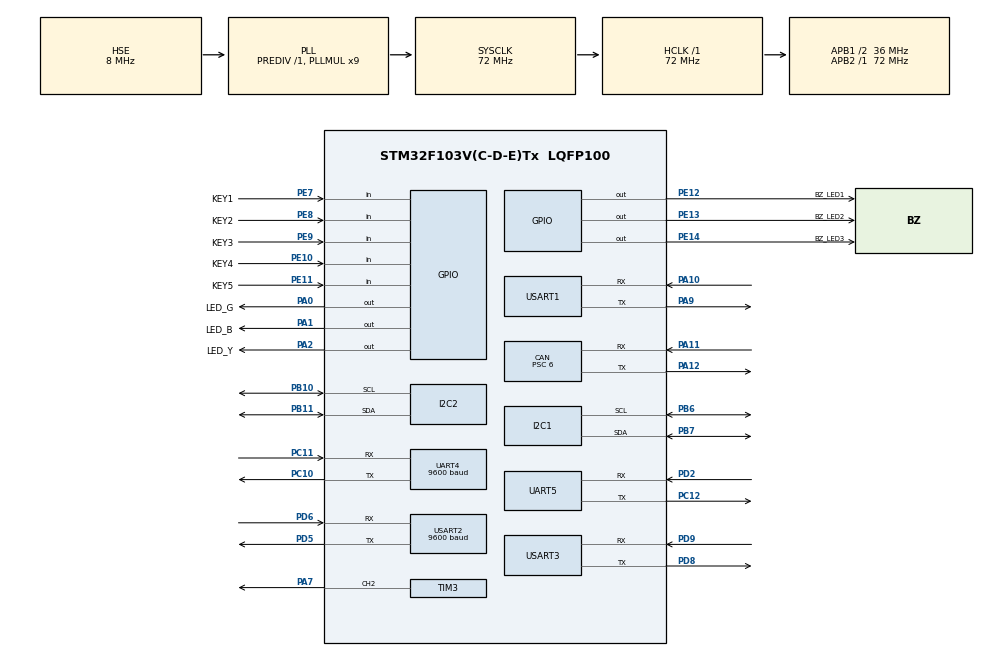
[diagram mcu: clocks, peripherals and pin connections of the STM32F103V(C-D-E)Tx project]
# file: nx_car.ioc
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CAN.ABOM=ENABLE
CAN.BS1=CAN_BS1_9TQ
CAN.BS2=CAN_BS2_2TQ
CAN.CalculateBaudRate=499999
CAN.CalculateTimeBit=2000
CAN.CalculateTimeQuantum=166.66666666666669
CAN.Prescaler=6
CAN.TXFP=DISABLE
Mcu.Family=STM32F1
Mcu.Name=STM32F103V(C-D-E)Tx
Mcu.Package=LQFP100
NVIC.PriorityGroup=NVIC_PRIORITYGROUP_4
NVIC.UART4_IRQn=true\:0\:0\:false\:false\:true\:true\:true\:true
NVIC.UART5_IRQn=true\:0\:0\:false\:false\:true\:true\:true\:true
NVIC.USART1_IRQn=true\:0\:0\:false\:false\:true\:true\:true\:true
NVIC.USART2_IRQn=true\:0\:0\:false\:false\:true\:true\:true\:true
NVIC.USART3_IRQn=true\:0\:0\:false\:false\:true\:true\:true\:true
NVIC.USB_LP_CAN1_RX0_IRQn=true\:1\:0\:false\:false\:true\:true\:true\:true
OSC_IN.Mode=HSE-External-Oscillator
OSC_IN.Signal=RCC_OSC_IN
OSC_OUT.Mode=HSE-External-Oscillator
OSC_OUT.Signal=RCC_OSC_OUT
PA0-WKUP.GPIO_Label=LED_G
PA0-WKUP.Signal=GPIO_Output
PA1.GPIO_Label=LED_B
PA1.Signal=GPIO_Output
PA10.Mode=Asynchronous
PA10.Signal=USART1_RX
PA11.Mode=CAN_Activate
PA11.Signal=CAN_RX
PA12.Mode=CAN_Activate
PA12.Signal=CAN_TX
PA13.Mode=Serial_Wire
PA13.Signal=SYS_JTMS-SWDIO
PA14.Mode=Serial_Wire
PA14.Signal=SYS_JTCK-SWCLK
PA2.GPIO_Label=LED_Y
PA2.Signal=GPIO_Output
PA7.Signal=S_TIM3_CH2
PA9.Mode=Asynchronous
PA9.Signal=USART1_TX
PB10.Mode=I2C
PB10.Signal=I2C2_SCL
PB11.Mode=I2C
PB11.Signal=I2C2_SDA
PB6.Mode=I2C
PB6.Signal=I2C1_SCL
PB7.Mode=I2C
PB7.Signal=I2C1_SDA
PC10.Mode=Asynchronous
PC10.Signal=UART4_TX
PC11.Mode=Asynchronous
PC11.Signal=UART4_RX
PC12.Mode=Asynchronous
PC12.Signal=UART5_TX
PC14-OSC32_IN.Mode=LSE-External-Oscillator
PC14-OSC32_IN.Signal=RCC_OSC32_IN
PC15-OSC32_OUT.Mode=LSE-External-Oscillator
PC15-OSC32_OUT.Signal=RCC_OSC32_OUT
PD2.Mode=Asynchronous
PD2.Signal=UART5_RX
PD5.Mode=Asynchronous
PD5.Signal=USART2_TX
PD6.Mode=Asynchronous
PD6.Signal=USART2_RX
PD8.Mode=Asynchronous
PD8.Signal=USART3_TX
PD9.Mode=Asynchronous
PD9.Signal=USART3_RX
PE10.GPIO_Label=KEY4
PE10.GPIO_PuPd=GPIO_PULLUP
PE10.Signal=GPIO_Input
PE11.GPIO_Label=KEY5
PE11.GPIO_PuPd=GPIO_PULLUP
PE11.Signal=GPIO_Input
PE12.GPIO_Label=BZ_LED1
PE12.PinState=GPIO_PIN_SET
PE12.Signal=GPIO_Output
PE13.GPIO_Label=BZ_LED2
PE13.PinState=GPIO_PIN_SET
PE13.Signal=GPIO_Output
PE14.GPIO_Label=BZ_LED3
PE14.PinState=GPIO_PIN_SET
PE14.Signal=GPIO_Output
PE7.GPIO_Label=KEY1
PE7.GPIO_PuPd=GPIO_PULLUP
PE7.Signal=GPIO_Input
PE8.GPIO_Label=KEY2
PE8.GPIO_PuPd=GPIO_PULLUP
PE8.Signal=GPIO_Input
PE9.GPIO_Label=KEY3
PE9.GPIO_PuPd=GPIO_PULLUP
PE9.Signal=GPIO_Input
ProjectManager.HeapSize=0x200
ProjectManager.StackSize=0x400
ProjectManager.TargetToolchain=MDK-ARM V5.32
RCC.AHBFreq_Value=72000000
RCC.APB1CLKDivider=RCC_HCLK_DIV2
RCC.APB1Freq_Value=36000000
RCC.APB1TimFreq_Value=72000000
RCC.APB2Freq_Value=72000000
RCC.APB2TimFreq_Value=72000000
RCC.HCLKFreq_Value=72000000
RCC.PLLMUL=RCC_PLL_MUL9
RCC.PLLSourceVirtual=RCC_PLLSOURCE_HSE
RCC.SYSCLKFreq_VALUE=72000000
RCC.SYSCLKSource=RCC_SYSCLKSOURCE_PLLCLK
RCC.USBFreq_Value=72000000
SH.S_TIM3_CH2.0=TIM3_CH2,PWM Generation2 CH2
TIM3.AutoReloadPreload=TIM_AUTORELOAD_PRELOAD_ENABLE
TIM3.Channel-PWM\ Generation2\ CH2=TIM_CHANNEL_2
TIM3.Period=365
TIM3.Prescaler=71
TIM3.Pulse-PWM\ Generation2\ CH2=183
UART4.BaudRate=9600
UART4.VirtualMode=Asynchronous
UART5.VirtualMode=Asynchronous
USART1.VirtualMode=VM_ASYNC
USART2.BaudRate=9600
USART2.VirtualMode=VM_ASYNC
USART3.VirtualMode=VM_ASYNC
VP_TIM3_VS_ClockSourceINT.Mode=Internal
board=custom

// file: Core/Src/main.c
/* USER CODE BEGIN Header */
/**
  ******************************************************************************
  * @file           : main.c
  * @brief          : Main program body
  ******************************************************************************
  * @attention
  *
  * Copyright (c) 2026 STMicroelectronics.
  * All rights reserved.
  *
  * This software is licensed under terms that can be found in the LICENSE file
  * in the root directory of this software component.
  * If no LICENSE file comes with this software, it is provided AS-IS.
  *
  ******************************************************************************
  */
/* USER CODE END Header */
#include "main.h"
#include "can.h"
#include "i2c.h"
#include "tim.h"
#include "usart.h"
#include "gpio.h"

/* USER CODE BEGIN Includes */
#include "bsp_Emm_V5.h"
#include "hwt101ct.h"
#include "oled.h"
#include "Emm_V5.h"
#include "bsp_debug.h"
#include "bsp_oled_ui.h"
#include "bsp_key.h"
#include "bsp_imu.h"
#include "bsp_test.h"
#include "bsp_motor.h"
#include "bsp_wheel_test.h"
#include "bsp_mecanum.h"        /* P4 麦轮运动学：整车位移 -> 四轮目标脉冲 */
#include "bsp_chassis.h"        /* P4 车机运动序列：位置模式 + 到位判定 + 航向纠偏 */
#include "bsp_chassis_test.h"   /* P4 车机测试页控制（PAGE_CHASSIS） */
#include "bsp_qr.h"             /* P5 GM65 扫码模块：UART4 中断接收 + 帧超时定界 */
#include "bsp_qr_test.h"        /* P5 扫码测试页控制（PAGE_QR） */
#include "bsp_rpi.h"             /* P6 树莓派通讯模块：USART1 收发 + 4 收 5 发（协议 v1.0） */
#include "bsp_rpi_test.h"        /* P6 树莓派通讯测试页控制（PAGE_RPI） */
#include "bsp_route.h"           /* P7 跑图执行器：按路段表顺序自动行驶（位置模式） */
#include "bsp_arm_action.h"      /* P9 抓取动作库：标定表 + 固定流程 + 非阻塞执行器 */
#include "bsp_align.h"           /* P9 视觉闭环定位：按像素偏移迭代平移到位 */
#include "bsp_tt.h"              /* P10 转盘取料序列：对位 + 连抓 3 件放车载 1/2/3 */
#include "bsp_route_test.h"      /* P7 跑图测试页控制（PAGE_ROUTE） */
#include "bsp_tune.h"            /* P7 自动调车：UART5 在线调参命令（RUN/STOP/参数=值） */
#include "bsp_arm.h"             /* P8 机械臂电机：手臂转向/升降（CAN addr 5/6）+ 舵机参数 */
#include "LobotServoController.h" /* P8 幻尔总线舵机官方库（经调试板 TTL 口，USART3） */
#include "bsp_servo.h"           /* P8 舵机回读模块：实际位置 / 调试板电压 */
#include "bsp_arm_test.h"        /* P8 机械臂测试页控制（PAGE_ARM） */
#include "bsp_arm_seq.h"         /* P8 联调 手臂调试页：回原点 + 动作序列（PAGE_ARM_SEQ） */
#include "bsp_arm_para.h"        /* P8 联调 手臂参数页：读电机/舵机参数（PAGE_ARM_PARA） */
#include "bsp_mission.h"         /* P9 赛题页：旧点位流程（导航内核 Mission_Nav* 仍被 bsp_task 复用） */
#include "bsp_task.h"            /* P9 赛题流程引擎：Task_Update/HandleKey（PAGE_MISSION） */
#include "bsp_task_dbg.h"        /* P9 任务调试页：任务点单点调试（PAGE_TASK_DBG） */
#include "bsp_align_test.h"      /* P24 对位调参页：单独跑对位 + 逐帧 PID 数据（PAGE_ALIGN_TEST） */
#include "bsp_vel_test.h"        /* P25 速度模式测试页：纯陀螺仪 + 时间控距离（PAGE_VELTEST） */
#include "bsp_vel_route.h"       /* P26 速度模式跑图页：赛题路段表全程 0xF6（PAGE_VELROUTE） */
#include <stdio.h>
#include <string.h>
/* USER CODE END Includes */

void SystemClock_Config(void);

int main(void)
{

  /* MCU Configuration--------------------------------------------------------*/

  /* Reset of all peripherals, Initializes the Flash interface and the Systick. */
  HAL_Init();

  /* Configure the system clock */
  SystemClock_Config();

  /* Initialize all configured peripherals */
  MX_GPIO_Init();
  MX_CAN_Init();
  MX_USART1_UART_Init();
  MX_USART2_UART_Init();
  MX_USART3_UART_Init();
  MX_I2C1_Init();
  MX_I2C2_Init();
  MX_UART4_Init();
  MX_UART5_Init();
  MX_TIM3_Init();
  /* USER CODE BEGIN 2 */
  /* CAN 滤波器初始化、启动 CAN、使能 RX0 接收中断（与参考工程 nx_car_cs 一致；
     can.c 的 MX_CAN_Init 不含滤波器/启动代码，必须在此调用） */
  USER_CAN1_Filter_Init();
  if(HAL_CAN_Start(&hcan) != HAL_OK) { Error_Handler(); }
  if(HAL_CAN_ActivateNotification(&hcan, CAN_IT_RX_FIFO0_MSG_PENDING) != HAL_OK) { Error_Handler(); }

  /* 调试系统初始化：熄灭 LED、上电蜂鸣、记录起始节拍 */
  BSP_Debug_Init();

  /* 上电横幅：项目名、编译时间、系统时钟频率 */
  printf("\r\n========================================\r\n");
  printf("  nx_car 智能搬运机器人\r\n");
  printf("  Build: %s %s\r\n", __DATE__, __TIME__);
  printf("  SYSCLK: %lu MHz\r\n", (unsigned long)(HAL_RCC_GetSysClockFreq() / 1000000UL));
  printf("========================================\r\n");
  Debug_Log("SYS", "boot done, enter main loop");

  /* OLED 显示系统初始化（检测在线+开机页） */
  Display_Init();
  /* 按键初始化（GPIO 已由 CubeMX 配置为上拉输入） */
  Key_Init();

  /* IMU 初始化：USART2 中断接收，波特率由 HWT101CT_UART_BAUD 宏决定 */
  IMU_Init();
  /* 模块自检框架初始化（注册表复位；电机使能/转动由单轮测试页 WheelTest_Enter 触发，上电不直发电机命令） */
  Test_Init();
  /* 电机总线自检启动（P3）：只读不写——依次读 1~4 号电机实时位置 S_CPOS，
     初始化阶段禁止发使能/速度指令，防上电车轮突转；应答由主循环 Motor_Update 轮询推进 */
  Motor_Init();
  /* 麦轮运动学初始化（P4）：只打印几何参数便于核对标定值，不发任何电机命令；
     上电阶段禁止使能/转动，四轮使能由车机测试页启动动作时触发 */
  Mecanum_Init();
  /* 车机运动模块初始化（P4）：只复位状态机，不发电机命令 */
  Chassis_Init();
  /* GM65 扫码模块初始化（P5）：启动 UART4 单字节中断接收，扫码此后台常驻运行，
     页面进入/退出不影响接收；合法任务码自动同步到任务码页（PAGE_TASK） */
  QR_Init();
  /* 树莓派通讯模块初始化（P6）：启动 USART1 单字节中断接收，通讯此后台常驻运行，
     页面进入/退出不影响接收；**初始化阶段不发任何指令**
     （$RCP/$RZ/$CCG/$SHOT/$CODE 由 P9 任务层或测试页手工触发） */
  RPi_Init();
  /* 转盘取料序列初始化（P10）：只复位状态机，不动电机；
     一键序列由 PICK_TRAY_ALL() 或任务调试页 TRAY PICK 启动（TT_Start） */
  TT_Init();
  /* 打靶放置序列初始化（P10 的 SP_，与 TRAY PICK 同源、同在 bsp_tt）：只复位状态机，不动电机；
     由任务调试页 STORE/ROUGH PLACE 或赛题流程 T_B1_PLACE（PLACE_STORE_ALL）启动（SP_Start） */
  SP_Init();
  /* 打靶取回序列初始化（P10 的 SB_，STORE BACK）：只复位状态机，不动电机；
     由任务调试页 STORE BACK 或赛题流程 T_B1_PBACK（PLACE_BACK_ALL）启动（SB_Start） */
  SB_Init();
  /* 跑图执行器初始化（P7）：只复位状态机，不发电机命令；
     四轮使能/下发位置命令由跑图测试页按 KEY3 启动时触发 */
  Route_Init();
  /* 在线调参模块（P7 自动调车）：从**日志串口 UART5 的 RX**轮询收 ASCII 命令
     （RUN/STOP/DUMP/DEFAULT/参数=值），改 bsp_route 的运行期参数；只收不发，
     不占中断、不改 stm32f1xx_it.c。PC 端脚本 auto_tune.py 靠它自动调车。 */
  Tune_Init();
  /* 舵机调试板串口适配（P8）：官方库 LobotServoController 假定串口已配好，
     而幻尔调试板的 TTL 口固定 9600，usart.c（CubeMX 生成、禁止改动）却把
     USART3 配成了 115200，故在此**运行期重设波特率**（8-N-1 等其它参数沿用
     usart.c 的配置）。只改串口参数，不发任何舵机动作指令（防上电爪子突动）。 */
  huart3.Init.BaudRate = (uint32_t)SERVO_BUS_BAUD;
  if (HAL_UART_Init(&huart3) != HAL_OK)
  {
    Debug_Log("SRV", "baud=%u set FAIL", (unsigned int)SERVO_BUS_BAUD);
  }
  Debug_Log("SRV", "init, baud=%u", (unsigned int)SERVO_BUS_BAUD);
  /* 舵机回读模块初始化（P8）：启动 USART3 单字节中断接收，只收不发
     （必须在上面把 USART3 改成 9600 之后调用；初始化阶段不发任何动作指令） */
  Servo_Init();
  /* 机械臂电机初始化（P8）：只复位状态并启动周期查询，不发使能/动作指令；
     电机 5/6 使能由机械臂测试页进入时触发 */
  Arm_Init();
  /* 赛题流程模块初始化（P9）：只复位状态机，不发电机命令、不清零里程计、
     不使能四轮；里程计清零与四轮使能分别在进赛题页、按 KEY5 执行/启动时触发 */
  Task_Init();
  /* 任务点调试页初始化（P9）：只复位状态机，不发电机/机械臂命令；
     按键进入/执行由主菜单 TDBG 项与调试页自身按键触发 */
  TaskDbg_Init();

#if DEBUG_BEEP_TEST
  /* 临时验证：持续断续鸣叫(200ms on / 200ms off)，BZ_LED2 同步；调用 BSP_Beep_Stop() 立即静音 */
  BSP_Beep(0, 200, 200);
#endif
  /* USER CODE END 2 */

  /* Infinite loop */
  while (1)
  {

    /* USER CODE BEGIN 3 */
    /* LED 流水（非阻塞，每 LED_FLOW_PERIOD_MS 切换） */
    BSP_LED_Flow_Update();
    /* 心跳日志（非阻塞，每 HEARTBEAT_PERIOD_MS 输出） */
    BSP_Heartbeat_Update();
    /* OLED display task (non-blocking refresh + cycle) */
    Display_Task();
    /* 按键扫描：KEY1=下一页，KEY2=上一页，手动切页关闭轮播 */
    {
        KeyID_t lp = Key_GetLongPress();
        /* 单轮点动页/车机测试页/扫码测试页/树莓派页/跑图页/机械臂页/手臂调试页/手臂参数页/赛题页
           活动时屏蔽长按 KEY2 进菜单：子页与顶层页只能由 KEY4/KEY5 退出，
           否则页面切走后状态错乱（电机仍转/动作状态机卡在半途/显示残留） */
        if (lp == KEY2 && !Display_MenuIsActive() &&
            !WheelTest_IsActive() &&
            !ChassisTest_IsActive() &&
            !QRTest_IsActive() && !RPiTest_IsActive() &&
            !RouteTest_IsActive() && !ArmTest_IsActive() &&
            !ArmSeq_IsActive() && !ArmPara_IsActive() &&
            !Task_IsActive() && !TaskDbg_IsActive() &&
            !VelTest_IsActive() && !VelRoute_IsActive())
        {
            Display_MenuEnter();
        }
        else if ((lp != KEY_NONE) && ArmTest_IsActive())
        {
            /* 机械臂测试页的长按由本页处理（KEY5=让本执行器归到0点、KEY3=电机5手动回零）：
               长按事件被 Key_GetLongPress() 消费一次，且 bsp_key 的长按不产生短按事件，
               所以必须在这里派发，不能靠下面短按路由的形参带进去 */
            ArmTest_HandleLongKey(lp);
        }
        else if ((lp != KEY_NONE) && ArmPara_IsActive())
        {
            /* 手臂参数页的长按由本页处理（KEY3=把电机5 当前位置设为绝对0点，存电机 flash） */
            ArmPara_HandleLongKey(lp);
        }
        else if ((lp != KEY_NONE) && Task_IsActive())
        {
            /* 赛题页的长按由本页处理（长按 KEY5=里程计清零；短按 KEY5 已被
               "执行当前步 / 一键启动"占用） */
            Task_HandleLongKey(lp);
        }
        else if ((lp != KEY_NONE) && VelTest_IsActive())
        {
            /* 速度模式测试页：长按 KEY4/KEY5 = 停止并退出
               （短按 KEY4 是"参数减一档"，所以退出放长按） */
            VelTest_HandleLongKey(lp);
        }
        else if ((lp != KEY_NONE) && VelRoute_IsActive())
        {
            /* 速度模式跑图页：长按 KEY4/KEY5 = 停止并退出 */
            VelRoute_HandleLongKey(lp);
        }
        else if (lp != KEY_NONE)
        {
            Debug_Log("KEY", "id=%u event=long", (unsigned int)lp);
        }

        KeyID_t key = Key_Scan();
        if (key != KEY_NONE)
        {
            if (Test_IsActive())
            {
                /* 测试页活动内再分一层：单轮点动页活动时按键交对应子页处理
                   （子页按键语义独立）；否则维持测试页路由 */
                if (WheelTest_IsActive())
                {
                    WheelTest_HandleKey(key);
                }
                else if (ChassisTest_IsActive())
                {
                    /* 车机测试页：KEY1/KEY2 选动作、KEY3 启动/中止、KEY4/KEY5 退出 */
                    ChassisTest_HandleKey(key);
                }
                else if (QRTest_IsActive())
                {
                    /* 扫码测试页：KEY3 手动重扫、KEY4/KEY5 退出回测试页 */
                    QRTest_HandleKey(key);
                }
                else if (RPiTest_IsActive())
                {
                    /* 树莓派测试页：KEY1/KEY2 选指令项、KEY3 发送、KEY4/KEY5 退出回测试页 */
                    RPiTest_HandleKey(key);
                }
                else if (RouteTest_IsActive())
                {
                    /* 跑图测试页：KEY3 启动/中止跑图、KEY4/KEY5 退出回测试页 */
                    RouteTest_HandleKey(key);
                }
                else if (ArmTest_IsActive())
                {
                    /* 机械臂测试页：KEY1/KEY2 选执行器、KEY3/KEY4 主/副动作、
                       KEY5 停止全部并退出回测试页（本页 KEY4 不是退出键） */
                    ArmTest_HandleKey(key);
                }
                else
                {
                    Test_HandleKey(key, 0);
                }
            }
            else if (Display_MenuIsActive())
            {
                Display_MenuHandleKey(key);
            }
            else if (ArmSeq_IsActive())
            {
                /* 手臂调试页（主菜单进入的顶层页）：
                   KEY1/KEY2 选动作、KEY3 重新回原点、KEY4 退出、KEY5 启动/中止 */
                ArmSeq_HandleKey(key);
            }
            else if (AlnTest_IsActive())
            {
                /* 对位调参页（主菜单进入的顶层页）：
                   KEY1/KEY2 选数据源、KEY3 启动/停止、KEY4 退出、KEY5 停止 */
                AlnTest_HandleKey(key);
            }
            else if (VelTest_IsActive())
            {
                /* 速度模式测试页（主菜单进入的顶层页）：
                   KEY1/KEY2 选参数、KEY3 加一档、KEY4 减一档、KEY5 启动/停止；
                   长按 KEY4/KEY5 = 停止并退出（见上方长按路由） */
                VelTest_HandleKey(key);
            }
            else if (VelRoute_IsActive())
            {
                /* 速度模式跑图页（主菜单进入的顶层页）：
                   KEY1/KEY2 上/下一段、KEY3 切 AUTO/STEP、KEY4 退出、KEY5 启动/停止 */
                VelRoute_HandleKey(key);
            }
            else if (ArmPara_IsActive())
            {
                /* 手臂参数页（主菜单进入的顶层页）：KEY3 刷新读数、KEY4 退出 */
                ArmPara_HandleKey(key);
            }
            else if (Task_IsActive())
            {
                /* 赛题页（主菜单进入的顶层页）：KEY1/KEY2 上/下一步、KEY3 切 STEP/AUTO、
                   KEY4 退出、KEY5 执行当前步（AUTO 下=一键启动）/ 运行中=急停；
                   长按 KEY5 = 里程计清零（见上方长按路由） */
                Task_HandleKey(key);
            }
            else if (TaskDbg_IsActive())
            {
                /* 任务调试页（主菜单进入的顶层页）：KEY1/KEY2 上/下任务点、KEY3 执行/中止、
                   KEY4 退出、KEY5 中止+退出 */
                TaskDbg_HandleKey(key);
            }
            else
            {
                if (key == KEY4) { Display_MenuEnter(); }
                else if (key == KEY3) { IMU_ResetYaw(); Debug_Log("IMU", "yaw reset ok"); }
                Debug_Log("KEY", "id=%u event=short", (unsigned int)key);
            }
        }
    }
    /* 电机总线自检轮询（非阻塞）：推进收发状态机，收应答记 ok / 超时记 no reply */
    Motor_Update();
    /* 车机运动状态机推进（P4，非阻塞）：读四轮位置算与目标脉冲的误差判到位，
       按阶段推进（主运动段 -> 纠偏段/ARC 第二段 -> DONE）并刷新进度；
       漏调度会导致状态机一直停在 RUN 直到超时 */
    Chassis_Update();
    /* 相对坐标（里程计）每拍累加（P4，非阻塞）：四轮脉冲增量 -> 麦轮正解 ->
       按当前陀螺仪朝向旋转回原点坐标系后累加 x/y；与运动状态无关，
       手动推车也会计入。漏调度则车机测试页的坐标不更新 */
    Chassis_OdomUpdate();
    /* 跑图状态机推进（P7，非阻塞）：按路段表逐段执行（先转角度 -> 再到坐标点），
       到位判定复用电机到位回传 + 脉冲容差兜底；
       放在 OdomUpdate 之后，保证本拍用的是最新相对坐标算增量 */
    Route_Update();

    /* 赛题流程状态机推进（P9，非阻塞）：按 bsp_task.c 的步骤表逐段推进
       （先按当前朝向 GO 到点 -> 再 Rotate 转到目标朝向 -> 到点执行作业点）；
       导航内核复用 bsp_mission 已验证的转角闭环/同拍停稳/到位判定。
       放在 OdomUpdate 之后，保证本拍用的是最新相对坐标算增量 */
    Task_Update();

    /* 任务点调试页状态机推进（P9，非阻塞）：按三段式推进当前任务点的调试程序
       （发指令 -> 等数据/对位 -> 动作收尾；机械臂动作留桩）；漏调度会卡在某一阶段 */
    TaskDbg_Update();

    /* 在线调参轮询（P7 自动调车）：读空 UART5 RX 并执行命令；无数据时开销极小。
       放在 Route_Update 之后，保证"改参数→下一段生效"的时序直观。 */
    Tune_Update();
    /* 机械臂电机状态查询节拍（P8，非阻塞）：周期发 S_CPOS/S_FLAG/S_OFLAG
       刷新 M5/M6 的位置与"到位/回零完成"标志，并判定回零完成与超时；
       漏调度会导致到位/回零完成永远判不出来（回调只负责存，不负责查） */
    Arm_Update();
    /* ★【2026-10-23 舵机丢动作修复】**所有会发舵机运动指令的节拍放在
       `Servo_Update()` 之前** —— 同一拍内先下运动指令、最后才发位置回读请求，
       避免"刚发出的读请求占着总线、后面的运动指令被调试板丢掉"。
       （另有 `Servo_WaitBusIdle()` 在 Arm_ServoMove 内做物理静默判定兜底。） */
    /* 机械臂测试页刷新节拍（P8，非阻塞）：只置脏标志，实际重绘由 OLED 侧节流 */
    ArmTest_Update();
    /* 手臂调试页状态机（P8 联调，非阻塞）：推进"串行回原点 + 动作序列"；
       漏调度会一直卡在 INIT / 等待到位 */
    ArmSeq_Update();
    /* 手臂参数页读数刷新（P8 联调，非阻塞，内部按 ARM_PARA_REFRESH_MS 节流） */
    ArmPara_Update();
    /* 抓取动作主循环节拍（P9 机械臂动作库，非阻塞）：逐步推进当前抓取/放置动作，
       必要时自动衔接第二段（抓→放）；**漏调度会卡在某一步不动** */
    ArmAct_Update();
    /* ★【2026-10-23】把本拍积攒的舵机命令**合并成一帧**发出去（同一拍多个关节只发 1 帧） */
    Arm_ServoFlush();
    /* 舵机回读主循环节拍（P8，非阻塞）：处理中断攒好的应答帧（解析在主循环）、
       周期发读位置请求、超时重试与统计；漏调度则回读永不刷新（位置一直显示 --） */
    Servo_Update();
    /* 扫码模块主循环节拍（P5，非阻塞）：帧超时成帧解析 + 同步任务码页；
       漏调度则接收帧不会解析、OLED 任务码不更新 */
    QR_Update();
    /* 树莓派通讯主循环节拍（P6，非阻塞）：帧超时成帧解析 + 数据过期清零 + 离线判定；
       漏调度则收帧不解析、颜色/靶位数据不更新 */
    RPi_Update();
    /* 视觉闭环定位节拍（P9，非阻塞）：读 $RCP（转盘区）/ $SHOT（打靶区）偏移 ->
       平移一小步 -> 等停稳 -> 再读；收敛判据是像素死区（dRot 恒为 0，车身角度不歪）；
       漏调度会卡在对位中间 */
    Align_Update();
    /* ★对位调参页（P24，非阻塞）：推进"等数据 -> 开跑 -> 结束"，
       运行中按 ALNT_LOG_MS 打印逐帧调参日志；**漏调度不会开跑/不打日志** */
    AlnTest_Update();
    /* ★速度模式测试页（P25，非阻塞）：纯陀螺仪 + 时间控距离的两段直行 + 左转；
       推进速度曲线/转向闭环；**漏调度会停在某个状态不动** */
    VelTest_Update();
    VelRoute_Update();
    /* 转盘取料序列节拍（P10，非阻塞）：等物料停稳 -> 对位 -> 抓转盘1号位 -> 放车载1/2/3；
       由 PICK_TRAY_ALL()/任务调试页启动，**漏调度会卡在序列中间** */
    TT_Update();
    /* 打靶放置序列节拍（P10 的 SP_，非阻塞）：观察位 -> $SHOT 对位（严格档、不限时）->
       车载 1/2/3 逐件取件放靶位；由 PLACE_STORE_ALL()/任务调试页启动，
       **漏调度会卡在序列中间**（现象 = 任务点按了 KEY5 不动） */
    SP_Update();
    /* 打靶取回序列节拍（P10 的 SB_，STORE BACK，非阻塞）：按放置逆序 车载3→2→1 搬回；
       由 PLACE_BACK_ALL()/任务调试页启动，**漏调度会卡在序列中间** */
    SB_Update();
    /* 模块自检框架节拍：调度 RUN 项（含 KEY/IMU 测试刷新） */
    Test_Update();
    /* 蜂鸣器非阻塞节拍更新（PWM 启停 + BZ_LED2 同步），禁止阻塞 */
    BSP_Beep_Update();
    /* IMU 主循环节拍：解析帧/新鲜度检测/周期上报 */
    IMU_Update();
  }

  /* USER CODE END 3 */
}

void SystemClock_Config(void)
{
  RCC_OscInitTypeDef RCC_OscInitStruct = {0};
  RCC_ClkInitTypeDef RCC_ClkInitStruct = {0};

  /** Initializes the RCC Oscillators according to the specified parameters
  * in the RCC_OscInitTypeDef structure.
  */
  RCC_OscInitStruct.OscillatorType = RCC_OSCILLATORTYPE_HSE;
  RCC_OscInitStruct.HSEState = RCC_HSE_ON;
  RCC_OscInitStruct.HSEPredivValue = RCC_HSE_PREDIV_DIV1;
  RCC_OscInitStruct.HSIState = RCC_HSI_ON;
  RCC_OscInitStruct.PLL.PLLState = RCC_PLL_ON;
  RCC_OscInitStruct.PLL.PLLSource = RCC_PLLSOURCE_HSE;
  RCC_OscInitStruct.PLL.PLLMUL = RCC_PLL_MUL9;
  if (HAL_RCC_OscConfig(&RCC_OscInitStruct) != HAL_OK)
  {
    Error_Handler();
  }

  /** Initializes the CPU, AHB and APB buses clocks
  */
  RCC_ClkInitStruct.ClockType = RCC_CLOCKTYPE_HCLK|RCC_CLOCKTYPE_SYSCLK
                              |RCC_CLOCKTYPE_PCLK1|RCC_CLOCKTYPE_PCLK2;
  RCC_ClkInitStruct.SYSCLKSource = RCC_SYSCLKSOURCE_PLLCLK;
  RCC_ClkInitStruct.AHBCLKDivider = RCC_SYSCLK_DIV1;
  RCC_ClkInitStruct.APB1CLKDivider = RCC_HCLK_DIV2;
  RCC_ClkInitStruct.APB2CLKDivider = RCC_HCLK_DIV1;

  if (HAL_RCC_ClockConfig(&RCC_ClkInitStruct, FLASH_LATENCY_2) != HAL_OK)
  {
    Error_Handler();
  }
}

void Error_Handler(void)
{
  __disable_irq();
  while (1)
  {
  }
}
